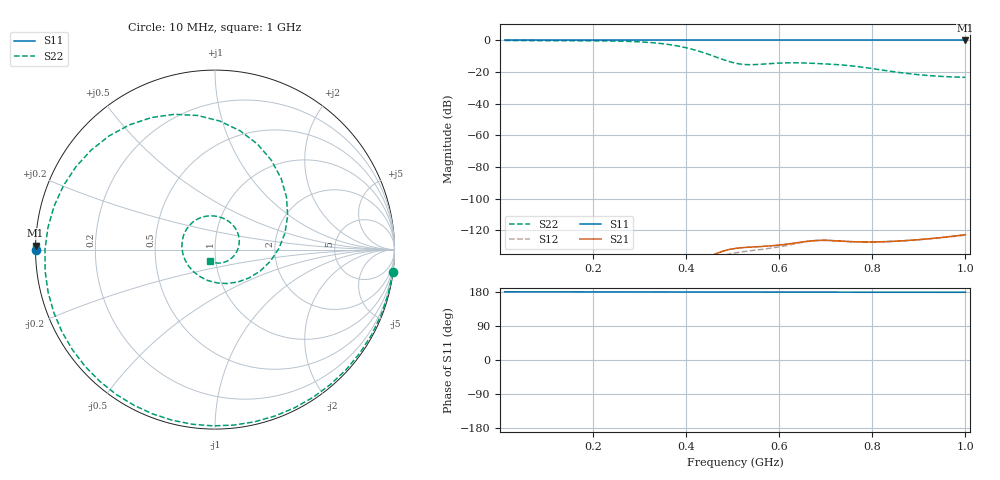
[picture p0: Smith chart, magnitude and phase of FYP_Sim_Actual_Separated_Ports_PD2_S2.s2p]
! Touchstone file from project FYP_Sim_Actual_Separated_Ports
! Exported from HFSS 13.0.2
# GHZ S MA R 50.000000
! Terminal data exported
! Port[1] = PD2_Incision_Port_T1
! Port[2] = Radiating_Plate_T1
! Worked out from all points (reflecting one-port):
!   100 points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, 10 MHz to 1 GHz, reference 50 ohm
!   lowest |S11| = 0.0 dB at 1 GHz (marker M1)
!   phase of S11 starts at 180 deg and turns -1 deg over the sweep
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0.01  1 180.0  3.031e-12 154.1  2.205e-12 140.9  0.9983 -7.2
0.05  1 179.9  5.261e-11 2.0  5.09e-11 -10.7  0.9919 -35.5
0.1  1 179.9  4.804e-10 155.9  4.794e-10 155.3  0.9855 -70.2
0.14  1 179.8  2.357e-09 -105.7  2.146e-09 -108.0  0.9812 -97.4
0.18  1 179.8  4.437e-09 -63.0  4.237e-09 -63.6  0.9766 -124.4
0.22  1 179.7  6.24e-09 -8.7  6.293e-09 -8.8  0.9678 -151.7
0.26  1 179.7  9.254e-09 64.7  9.368e-09 64.1  0.9471 179.8
0.3  1 179.6  1.6e-08 142.8  1.581e-08 143.0  0.9021 149.3
0.34  1 179.6  2.611e-08 -143.1  2.621e-08 -144.6  0.8166 115.7
0.36  1 179.5  3.335e-08 -107.1  3.351e-08 -110.9  0.7537 97.4
0.38  1 179.5  4.415e-08 -72.3  4.339e-08 -78.5  0.6768 78.1
0.4  1 179.5  6.103e-08 -39.1  5.717e-08 -47.2  0.5883 57.7
0.42  1 179.5  8.694e-08 -7.6  7.62e-08 -16.6  0.4935 36.1
0.44  1 179.4  1.243e-07 23.4  1.011e-07 13.8  0.3999 13.2
0.47  1 179.4  1.979e-07 71.2  1.458e-07 59.2  0.2791 -25.2
0.51  1 179.3  2.735e-07 133.1  1.991e-07 116.5  0.186 -86.7
0.55  1 179.3  3.021e-07 -177.2  2.38e-07 166.7  0.1734 -148.4
0.58  1 179.2  3.229e-07 -145.1  2.711e-07 -158.2  0.1852 175.3
0.67  1 179.1  4.656e-07 -32.4  4.647e-07 -30.9  0.1901 97.9
0.76  1 179.0  4.364e-07 85.8  4.359e-07 85.6  0.1546 32.9
0.84  1 178.9  4.46e-07 136.7  4.476e-07 134.1  0.1058 -24.9
1  1 178.7  7.319e-07 -174.9  7.044e-07 -172.1  0.06826 -111.9
